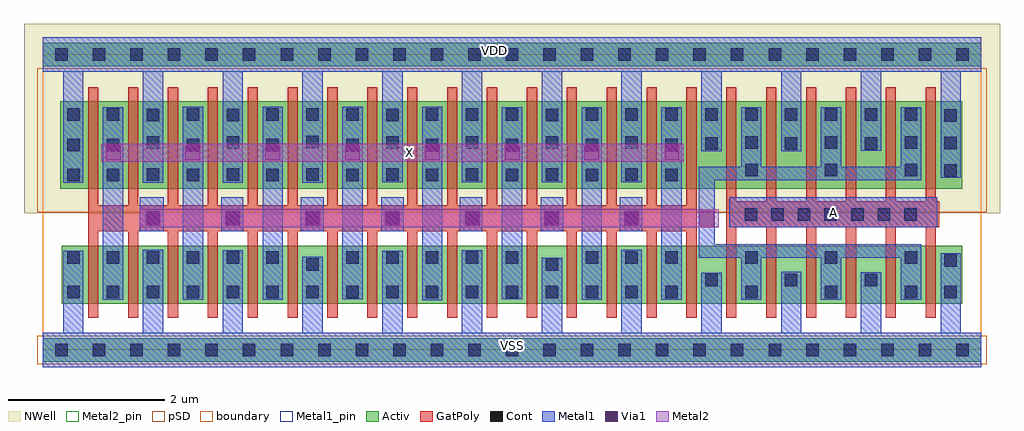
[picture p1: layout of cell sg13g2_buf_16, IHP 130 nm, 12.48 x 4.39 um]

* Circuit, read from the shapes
.subckt sg13g2_buf_16 A VDD VSS X
XM1 X n1 VSS VSS sg13_lv_nmos w=0.74u l=0.13u m=16
XM2 n1 A VSS VSS sg13_lv_nmos w=0.74u l=0.13u m=6
XM3 X n1 VDD VDD sg13_lv_pmos w=1.12u l=0.13u m=16
XM4 n1 A VDD VDD sg13_lv_pmos w=1.12u l=0.13u m=6
.ends

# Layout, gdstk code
import gdstk
lib = gdstk.Library(unit=1e-6, precision=1e-09)
def R(c, l, rs):  # rectangles x0, y0, x1, y1
    for r in rs: c.add(gdstk.rectangle(r[:2], r[2:], *l))
def A(c, l, x, y, w, h, nx, ny, dx, dy):  # array of equal rectangles
    R(c, l, [(x+i*dx, y+j*dy, x+i*dx+w, y+j*dy+h) for i in range(nx) for j in range(ny)])
def P(c, l, *ps):  # polygons
    for p in ps: c.add(gdstk.Polygon(p, *l))
Activ = (1, 0)
GatPoly = (5, 0)
Cont = (6, 0)
Metal1 = (8, 0)
Metal1_pin = (8, 2)
Metal2 = (10, 0)
Metal2_pin = (10, 2)
pSD = (14, 0)
Via1 = (19, 0)
NWell = (31, 0)
boundary = (189, 4)

sg13g2_buf_16 = lib.new_cell('sg13g2_buf_16')
R(sg13g2_buf_16, Activ, [(146.505,115.38,158.505,115.68), (146.745,116.12,158.265,116.86), (146.73,117.59,158.265,118.71), (146.505,119.16,158.505,119.46)])
P(sg13g2_buf_16, GatPoly, [(155.245,115.94),(155.245,118.89),(155.375,118.89),(155.375,117.43),(155.755,117.43),(155.755,118.89),(155.885,118.89),(155.885,117.43),(156.265,117.43),(156.265,118.89),(156.395,118.89),(156.395,117.43),(156.775,117.43),(156.775,118.89),(156.905,118.89),(156.905,117.43),(157.285,117.43),(157.285,118.89),(157.415,118.89),(157.415,117.43),(157.795,117.43),(157.795,118.89),(157.925,118.89),(157.925,117.43),(157.965,117.43),(157.965,117.1),(157.925,117.1),(157.925,115.94),(157.795,115.94),(157.795,117.1),(157.415,117.1),(157.415,115.94),(157.285,115.94),(157.285,117.1),(156.905,117.1),(156.905,115.94),(156.775,115.94),(156.775,117.1),(156.395,117.1),(156.395,115.94),(156.265,115.94),(156.265,117.1),(155.885,117.1),(155.885,115.94),(155.755,115.94),(155.755,117.1),(155.375,117.1),(155.375,115.94)],
  [(147.085,115.94),(147.085,118.89),(147.215,118.89),(147.215,117.38),(147.595,117.38),(147.595,118.89),(147.725,118.89),(147.725,117.38),(148.105,117.38),(148.105,118.89),(148.235,118.89),(148.235,117.38),(148.615,117.38),(148.615,118.89),(148.745,118.89),(148.745,117.38),(149.125,117.38),(149.125,118.89),(149.255,118.89),(149.255,117.38),(149.635,117.38),(149.635,118.89),(149.765,118.89),(149.765,117.38),(150.145,117.38),(150.145,118.89),(150.275,118.89),(150.275,117.38),(150.655,117.38),(150.655,118.89),(150.785,118.89),(150.785,117.38),(151.165,117.38),(151.165,118.89),(151.295,118.89),(151.295,117.38),(151.675,117.38),(151.675,118.89),(151.805,118.89),(151.805,117.38),(152.185,117.38),(152.185,118.89),(152.315,118.89),(152.315,117.38),(152.695,117.38),(152.695,118.89),(152.825,118.89),(152.825,117.38),(153.205,117.38),(153.205,118.89),(153.335,118.89),(153.335,117.38),(153.715,117.38),(153.715,118.89),(153.845,118.89),(153.845,117.38),(154.225,117.38),(154.225,118.89),(154.355,118.89),(154.355,117.38),(154.735,117.38),(154.735,118.89),(154.865,118.89),(154.865,115.94),(154.735,115.94),(154.735,117.05),(154.355,117.05),(154.355,115.94),(154.225,115.94),(154.225,117.05),(153.845,117.05),(153.845,115.94),(153.715,115.94),(153.715,117.05),(153.335,117.05),(153.335,115.94),(153.205,115.94),(153.205,117.05),(152.825,117.05),(152.825,115.94),(152.695,115.94),(152.695,117.05),(152.315,117.05),(152.315,115.94),(152.185,115.94),(152.185,117.05),(151.805,117.05),(151.805,115.94),(151.675,115.94),(151.675,117.05),(151.295,117.05),(151.295,115.94),(151.165,115.94),(151.165,117.05),(150.785,117.05),(150.785,115.94),(150.655,115.94),(150.655,117.05),(150.275,117.05),(150.275,115.94),(150.145,115.94),(150.145,117.05),(149.765,117.05),(149.765,115.94),(149.635,115.94),(149.635,117.05),(149.255,117.05),(149.255,115.94),(149.125,115.94),(149.125,117.05),(148.745,117.05),(148.745,115.94),(148.615,115.94),(148.615,117.05),(148.235,117.05),(148.235,115.94),(148.105,115.94),(148.105,117.05),(147.725,117.05),(147.725,115.94),(147.595,115.94),(147.595,117.05),(147.215,117.05),(147.215,115.94)])
A(sg13g2_buf_16, Cont, 146.815, 116.19, 0.16, 0.16, 16, 1, 0.51, 0)
A(sg13g2_buf_16, Cont, 155.485, 116.19, 0.16, 0.16, 3, 2, 1.02, 0.44)
A(sg13g2_buf_16, Cont, 154.975, 116.345, 0.16, 0.16, 3, 2, 1.02, 1.745)
A(sg13g2_buf_16, Cont, 146.815, 116.63, 0.16, 0.16, 6, 1, 0.51, 0)
A(sg13g2_buf_16, Cont, 150.385, 116.63, 0.16, 0.16, 5, 1, 0.51, 0)
A(sg13g2_buf_16, Cont, 153.445, 116.63, 0.16, 0.16, 3, 1, 0.51, 0)
A(sg13g2_buf_16, Cont, 147.835, 117.135, 0.16, 0.16, 7, 2, 1.02, 0.56)
A(sg13g2_buf_16, Cont, 155.48, 117.185, 0.16, 0.16, 7, 1, 0.34, 0)
A(sg13g2_buf_16, Cont, 147.325, 117.69, 0.16, 0.16, 8, 2, 1.02, 0.38)
A(sg13g2_buf_16, Cont, 158.035, 117.745, 0.16, 0.16, 1, 3, 0, 0.35)
A(sg13g2_buf_16, Cont, 155.485, 117.75, 0.16, 0.16, 3, 2, 1.02, 0.35)
A(sg13g2_buf_16, Cont, 150.895, 118.105, 0.16, 0.16, 4, 1, 1.02, 0)
A(sg13g2_buf_16, Cont, 148.855, 118.455, 0.16, 0.16, 3, 1, 2.04, 0)
A(sg13g2_buf_16, Cont, 147.325, 118.46, 0.16, 0.16, 3, 1, 1.02, 0)
A(sg13g2_buf_16, Cont, 151.405, 118.46, 0.16, 0.16, 3, 1, 0.51, 0)
A(sg13g2_buf_16, Cont, 153.445, 118.46, 0.16, 0.16, 9, 1, 0.51, 0)
R(sg13g2_buf_16, Cont, [(146.665,115.45,146.825,115.61), (146.665,115.45,146.825,115.61), (147.145,115.45,147.305,115.61), (147.145,115.45,147.305,115.61), (147.625,115.45,147.785,115.61), (147.625,115.45,147.785,115.61), (148.105,115.45,148.265,115.61), (148.105,115.45,148.265,115.61), (148.585,115.45,148.745,115.61), (148.585,115.45,148.745,115.61), (149.065,115.45,149.225,115.61), (149.065,115.45,149.225,115.61), (149.545,115.45,149.705,115.61), (149.545,115.45,149.705,115.61), (150.025,115.45,150.185,115.61), (150.025,115.45,150.185,115.61), (150.505,115.45,150.665,115.61), (150.505,115.45,150.665,115.61), (150.985,115.45,151.145,115.61), (150.985,115.45,151.145,115.61), (151.465,115.45,151.625,115.61), (151.465,115.45,151.625,115.61), (151.945,115.45,152.105,115.61), (151.945,115.45,152.105,115.61), (152.425,115.45,152.585,115.61), (152.425,115.45,152.585,115.61), (152.905,115.45,153.065,115.61), (152.905,115.45,153.065,115.61), (153.385,115.45,153.545,115.61), (153.385,115.45,153.545,115.61), (153.865,115.45,154.025,115.61), (153.865,115.45,154.025,115.61), (154.345,115.45,154.505,115.61), (154.345,115.45,154.505,115.61), (154.825,115.45,154.985,115.61), (154.825,115.45,154.985,115.61), (155.305,115.45,155.465,115.61), (155.305,115.45,155.465,115.61), (155.785,115.45,155.945,115.61), (155.785,115.45,155.945,115.61), (156.265,115.45,156.425,115.61), (156.265,115.45,156.425,115.61), (156.745,115.45,156.905,115.61), (156.745,115.45,156.905,115.61), (157.225,115.45,157.385,115.61), (157.225,115.45,157.385,115.61), (157.705,115.45,157.865,115.61), (157.705,115.45,157.865,115.61), (158.185,115.45,158.345,115.61), (158.185,115.45,158.345,115.61), (158.035,116.19,158.195,116.35), (149.875,116.54,150.035,116.7), (152.935,116.54,153.095,116.7), (158.035,116.595,158.195,116.755), (146.815,117.69,146.975,117.85), (146.815,118.07,146.975,118.23), (147.835,118.105,147.995,118.265), (148.855,118.105,149.015,118.265), (149.875,118.11,150.035,118.27), (147.835,118.455,147.995,118.615), (146.815,118.46,146.975,118.62), (149.875,118.46,150.035,118.62), (150.385,118.46,150.545,118.62), (146.665,119.23,146.825,119.39), (146.665,119.23,146.825,119.39), (147.145,119.23,147.305,119.39), (147.145,119.23,147.305,119.39), (147.625,119.23,147.785,119.39), (147.625,119.23,147.785,119.39), (148.105,119.23,148.265,119.39), (148.105,119.23,148.265,119.39), (148.585,119.23,148.745,119.39), (148.585,119.23,148.745,119.39), (149.065,119.23,149.225,119.39), (149.065,119.23,149.225,119.39), (149.545,119.23,149.705,119.39), (149.545,119.23,149.705,119.39), (150.025,119.23,150.185,119.39), (150.025,119.23,150.185,119.39), (150.505,119.23,150.665,119.39), (150.505,119.23,150.665,119.39), (150.985,119.23,151.145,119.39), (150.985,119.23,151.145,119.39), (151.465,119.23,151.625,119.39), (151.465,119.23,151.625,119.39), (151.945,119.23,152.105,119.39), (151.945,119.23,152.105,119.39), (152.425,119.23,152.585,119.39), (152.425,119.23,152.585,119.39), (152.905,119.23,153.065,119.39), (152.905,119.23,153.065,119.39), (153.385,119.23,153.545,119.39), (153.385,119.23,153.545,119.39), (153.865,119.23,154.025,119.39), (153.865,119.23,154.025,119.39), (154.345,119.23,154.505,119.39), (154.345,119.23,154.505,119.39), (154.825,119.23,154.985,119.39), (154.825,119.23,154.985,119.39), (155.305,119.23,155.465,119.39), (155.305,119.23,155.465,119.39), (155.785,119.23,155.945,119.39), (155.785,119.23,155.945,119.39), (156.265,119.23,156.425,119.39), (156.265,119.23,156.425,119.39), (156.745,119.23,156.905,119.39), (156.745,119.23,156.905,119.39), (157.225,119.23,157.385,119.39), (157.225,119.23,157.385,119.39), (157.705,119.23,157.865,119.39), (157.705,119.23,157.865,119.39), (158.185,119.23,158.345,119.39), (158.185,119.23,158.345,119.39)])
R(sg13g2_buf_16, Metal1, [(151.355,116.165,151.615,118.64), (147.275,116.17,147.535,118.635), (154.415,116.17,154.675,118.635), (148.295,116.175,148.555,118.64), (149.315,116.175,149.575,118.64), (153.395,116.175,153.655,118.635), (150.335,116.18,150.595,118.64), (152.375,116.18,152.635,118.635), (147.745,117.05,148.055,117.485), (148.785,117.05,149.07,117.48), (149.805,117.05,150.1,117.48), (150.835,117.05,151.12,117.48), (151.84,117.05,152.125,117.48), (152.875,117.05,153.16,117.48), (153.885,117.05,154.17,117.48), (155.285,117.1,157.945,117.48)])
P(sg13g2_buf_16, Metal1, [(146.765,117.67),(146.765,119.09),(146.505,119.09),(146.505,119.53),(158.505,119.53),(158.505,119.09),(158.245,119.09),(158.245,117.735),(157.985,117.735),(157.985,119.09),(157.225,119.09),(157.225,118.075),(156.965,118.075),(156.965,119.09),(156.205,119.09),(156.205,118.07),(155.945,118.07),(155.945,119.09),(155.185,119.09),(155.185,118.07),(154.925,118.07),(154.925,119.09),(154.165,119.09),(154.165,117.675),(153.905,117.675),(153.905,119.09),(153.145,119.09),(153.145,117.675),(152.885,117.675),(152.885,119.09),(152.125,119.09),(152.125,117.675),(151.865,117.675),(151.865,119.09),(151.105,119.09),(151.105,117.675),(150.845,117.675),(150.845,119.09),(150.085,119.09),(150.085,117.67),(149.825,117.67),(149.825,119.09),(149.065,119.09),(149.065,117.67),(148.805,117.67),(148.805,119.09),(148.045,119.09),(148.045,117.67),(147.785,117.67),(147.785,119.09),(147.025,119.09),(147.025,117.67)],
  [(156.455,116.17),(156.455,116.71),(155.695,116.71),(155.695,116.175),(155.435,116.175),(155.435,116.71),(154.89,116.71),(154.89,117.87),(155.435,117.87),(155.435,118.635),(155.695,118.635),(155.695,117.87),(156.455,117.87),(156.455,118.635),(156.715,118.635),(156.715,117.87),(157.475,117.87),(157.475,118.635),(157.735,118.635),(157.735,117.7),(155.1,117.7),(155.1,116.88),(157.735,116.88),(157.735,116.175),(157.475,116.175),(157.475,116.71),(156.715,116.71),(156.715,116.17)],
  [(146.505,115.31),(146.505,115.75),(146.765,115.75),(146.765,116.8),(147.025,116.8),(147.025,115.75),(147.785,115.75),(147.785,116.81),(148.045,116.81),(148.045,115.75),(148.805,115.75),(148.805,116.805),(149.065,116.805),(149.065,115.75),(149.825,115.75),(149.825,116.725),(150.085,116.725),(150.085,115.75),(150.845,115.75),(150.845,116.8),(151.105,116.8),(151.105,115.75),(151.865,115.75),(151.865,116.805),(152.125,116.805),(152.125,115.75),(152.885,115.75),(152.885,116.71),(153.145,116.71),(153.145,115.75),(153.905,115.75),(153.905,116.81),(154.165,116.81),(154.165,115.75),(154.925,115.75),(154.925,116.52),(155.19,116.52),(155.19,115.75),(155.945,115.75),(155.945,116.53),(156.205,116.53),(156.205,115.75),(156.965,115.75),(156.965,116.525),(157.225,116.525),(157.225,115.75),(157.985,115.75),(157.985,116.765),(158.245,116.765),(158.245,115.75),(158.505,115.75),(158.505,115.31)])
R(sg13g2_buf_16, Metal1_pin, [(146.505,115.31,158.505,115.75), (155.285,117.1,157.945,117.48), (146.505,119.09,158.505,119.53)])
R(sg13g2_buf_16, Metal2, [(147.745,117.1,155.15,117.33), (147.25,117.935,154.7,118.165)])
R(sg13g2_buf_16, Metal2_pin, [(147.25,117.935,154.7,118.165)])
R(sg13g2_buf_16, pSD, [(146.435,115.35,158.575,115.71), (146.435,117.29,158.575,119.13)])
A(sg13g2_buf_16, Via1, 147.82, 117.12, 0.19, 0.19, 7, 1, 1.02, 0)
A(sg13g2_buf_16, Via1, 147.31, 117.955, 0.19, 0.19, 5, 1, 1.02, 0)
R(sg13g2_buf_16, Via1, [(154.9,117.12,155.09,117.31), (152.415,117.955,152.605,118.145), (153.43,117.955,153.62,118.145), (154.455,117.955,154.645,118.145)])
R(sg13g2_buf_16, NWell, [(146.265,117.28,158.745,119.7)])
R(sg13g2_buf_16, boundary, [(146.505,115.53,158.505,119.31)])
sg13g2_buf_16.add(gdstk.Label('VDD', (152.285,119.365), layer=8, texttype=25))
sg13g2_buf_16.add(gdstk.Label('VSS', (152.515,115.585), layer=8, texttype=25))
sg13g2_buf_16.add(gdstk.Label('A', (156.615,117.285), layer=8, texttype=25))
sg13g2_buf_16.add(gdstk.Label('X', (151.2,118.05), layer=10, texttype=25))

lib.write_gds('sg13g2_buf_16.gds')
